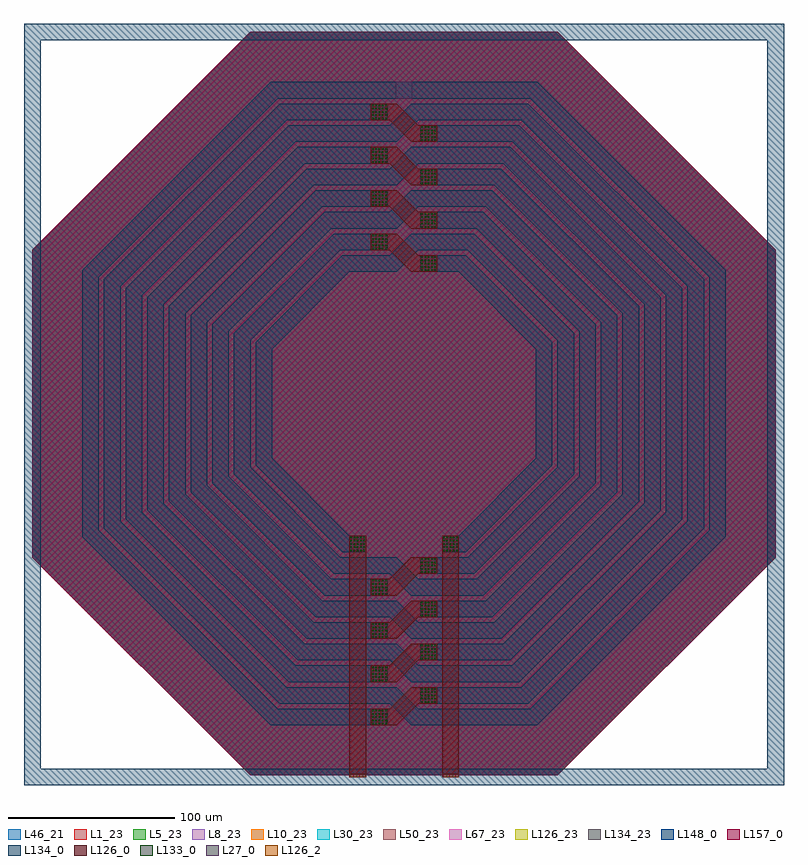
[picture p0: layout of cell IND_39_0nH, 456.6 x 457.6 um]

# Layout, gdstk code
import gdstk
lib = gdstk.Library(unit=1e-6, precision=1e-09)
def R(c, l, rs):  # rectangles x0, y0, x1, y1
    for r in rs: c.add(gdstk.rectangle(r[:2], r[2:], *l))
def A(c, l, x, y, w, h, nx, ny, dx, dy):  # array of equal rectangles
    R(c, l, [(x+i*dx, y+j*dy, x+i*dx+w, y+j*dy+h) for i in range(nx) for j in range(ny)])
def P(c, l, *ps):  # polygons
    for p in ps: c.add(gdstk.Polygon(p, *l))
L1_23 = (1, 23)
L5_23 = (5, 23)
L8_23 = (8, 23)
L10_23 = (10, 23)
L27_0 = (27, 0)
L30_23 = (30, 23)
L46_21 = (46, 21)
L50_23 = (50, 23)
L67_23 = (67, 23)
L126_0 = (126, 0)
L126_2 = (126, 2)
L126_23 = (126, 23)
L133_0 = (133, 0)
L134_0 = (134, 0)
L134_23 = (134, 23)
L148_0 = (148, 0)
L157_0 = (157, 0)

inductor2_1 = lib.new_cell('inductor2$1')
P(inductor2_1, L1_23, [(-92.49,0),(-223.3,130.81),(-223.3,315.79),(-92.49,446.6),(92.49,446.6),(223.3,315.79),(223.3,130.81),(92.49,0)])
P(inductor2_1, L5_23, [(-92.49,0),(-223.3,130.81),(-223.3,315.79),(-92.49,446.6),(92.49,446.6),(223.3,315.79),(223.3,130.81),(92.49,0)])
P(inductor2_1, L8_23, [(-92.49,0),(-223.3,130.81),(-223.3,315.79),(-92.49,446.6),(92.49,446.6),(223.3,315.79),(223.3,130.81),(92.49,0)])
P(inductor2_1, L10_23, [(-92.49,0),(-223.3,130.81),(-223.3,315.79),(-92.49,446.6),(92.49,446.6),(223.3,315.79),(223.3,130.81),(92.49,0)])
R(inductor2_1, L27_0, [(-5.01,406.57,5.01,416.59)])
P(inductor2_1, L30_23, [(-92.49,0),(-223.3,130.81),(-223.3,315.79),(-92.49,446.6),(92.49,446.6),(223.3,315.79),(223.3,130.81),(92.49,0)])
P(inductor2_1, L46_21, [(-92.49,0),(-223.3,130.81),(-223.3,315.79),(-92.49,446.6),(92.49,446.6),(223.3,315.79),(223.3,130.81),(92.49,0)])
P(inductor2_1, L50_23, [(-92.49,0),(-223.3,130.81),(-223.3,315.79),(-92.49,446.6),(92.49,446.6),(223.3,315.79),(223.3,130.81),(92.49,0)])
P(inductor2_1, L67_23, [(-92.49,0),(-223.3,130.81),(-223.3,315.79),(-92.49,446.6),(92.49,446.6),(223.3,315.79),(223.3,130.81),(92.49,0)])
P(inductor2_1, L126_0, [(4.45,302.42),(-8.57,315.44),(-19.83,315.44),(-19.83,325.44),(-4.45,325.44),(8.57,312.42),(19.83,312.42),(19.83,302.42)],
  [(4.45,328.46),(-8.57,341.48),(-19.83,341.48),(-19.83,351.48),(-4.45,351.48),(8.57,338.46),(19.83,338.46),(19.83,328.46)],
  [(-19.83,108),(-19.83,118),(-8.58,118),(4.42,131),(19.84,131),(19.84,121),(8.57,121),(-4.43,108)],
  [(4.45,354.5),(-8.57,367.52),(-19.83,367.52),(-19.83,377.52),(-4.45,377.52),(8.57,364.5),(19.83,364.5),(19.83,354.5)],
  [(-19.83,82),(-19.83,92),(-8.58,92),(4.42,105),(19.84,105),(19.84,95),(8.57,95),(-4.43,82)],
  [(4.45,380.54),(-8.57,393.56),(-19.83,393.56),(-19.83,403.56),(-4.45,403.56),(8.57,390.54),(19.83,390.54),(19.83,380.54)],
  [(-19.83,56),(-19.83,66),(-8.58,66),(4.42,79),(19.84,79),(19.84,69),(8.57,69),(-4.43,56)],
  [(-19.83,30),(-19.83,40),(-8.58,40),(4.42,53),(19.84,53),(19.84,43),(8.57,43),(-4.43,30)])
R(inductor2_1, L126_2, [(-32.83,-1,-22.83,1), (22.83,-1,32.83,1)])
P(inductor2_1, L126_23, [(-92.49,0),(-223.3,130.81),(-223.3,315.79),(-92.49,446.6),(92.49,446.6),(223.3,315.79),(223.3,130.81),(92.49,0)])
A(inductor2_1, L133_0, -19.2, 30.63, 0.9, 0.9, 5, 5, 1.96, 1.96)
A(inductor2_1, L133_0, 10.47, 43.63, 0.9, 0.9, 5, 5, 1.96, 1.96)
A(inductor2_1, L133_0, -19.2, 56.63, 0.9, 0.9, 5, 5, 1.96, 1.96)
A(inductor2_1, L133_0, 10.47, 69.63, 0.9, 0.9, 5, 5, 1.96, 1.96)
A(inductor2_1, L133_0, -19.2, 82.63, 0.9, 0.9, 5, 5, 1.96, 1.96)
A(inductor2_1, L133_0, 10.47, 95.63, 0.9, 0.9, 5, 5, 1.96, 1.96)
A(inductor2_1, L133_0, -19.2, 108.63, 0.9, 0.9, 5, 5, 1.96, 1.96)
A(inductor2_1, L133_0, 10.47, 121.63, 0.9, 0.9, 5, 5, 1.96, 1.96)
A(inductor2_1, L133_0, -32.2, 134.63, 0.9, 0.9, 5, 5, 1.96, 1.96)
A(inductor2_1, L133_0, 23.46, 134.63, 0.9, 0.9, 5, 5, 1.96, 1.96)
A(inductor2_1, L133_0, 10.46, 303.05, 0.9, 0.9, 5, 5, 1.96, 1.96)
A(inductor2_1, L133_0, -19.2, 316.05, 0.9, 0.9, 5, 5, 1.96, 1.96)
A(inductor2_1, L133_0, 10.46, 329.09, 0.9, 0.9, 5, 5, 1.96, 1.96)
A(inductor2_1, L133_0, -19.2, 342.09, 0.9, 0.9, 5, 5, 1.96, 1.96)
A(inductor2_1, L133_0, 10.46, 355.13, 0.9, 0.9, 5, 5, 1.96, 1.96)
A(inductor2_1, L133_0, -19.2, 368.13, 0.9, 0.9, 5, 5, 1.96, 1.96)
A(inductor2_1, L133_0, 10.46, 381.17, 0.9, 0.9, 5, 5, 1.96, 1.96)
A(inductor2_1, L133_0, -19.2, 394.17, 0.9, 0.9, 5, 5, 1.96, 1.96)
R(inductor2_1, L134_0, [(-9.83,406.58,9.83,416.58)])
P(inductor2_1, L134_0, [(22.83,134),(22.83,144),(32.805,144),(79.21,190.405),(79.21,256.015),(32.805,302.42),(9.83,302.42),(9.83,312.42),(36.955,312.42),(89.21,260.165),(89.21,186.255),(36.955,134)],
  [(-36.955,134),(-89.21,186.255),(-89.21,260.165),(-36.955,312.42),(-9.83,312.42),(-9.83,302.42),(-32.805,302.42),(-79.21,256.015),(-79.21,190.405),(-32.805,144),(-22.83,144),(-22.83,134)],
  [(-9.83,302.42),(-9.83,312.42),(-8.57,312.42),(4.45,325.44),(9.83,325.44),(9.83,315.44),(8.6,315.44),(-4.42,302.42)],
  [(9.83,121),(9.83,131),(38.195,131),(92.22,185.025),(92.22,261.415),(38.195,315.44),(9.83,315.44),(9.83,325.44),(42.345,325.44),(102.22,265.565),(102.22,180.875),(42.345,121)],
  [(-42.345,121),(-102.22,180.875),(-102.22,265.565),(-42.345,325.44),(-9.83,325.44),(-9.83,315.44),(-38.195,315.44),(-92.22,261.415),(-92.22,185.025),(-38.195,131),(-9.83,131),(-9.83,121)],
  [(9.83,108),(9.83,118),(43.585,118),(105.23,179.645),(105.23,266.815),(43.585,328.46),(9.83,328.46),(9.83,338.46),(47.735,338.46),(115.23,270.965),(115.23,175.495),(47.735,108)],
  [(-47.735,108),(-115.23,175.495),(-115.23,270.965),(-47.735,338.46),(-9.83,338.46),(-9.83,328.46),(-43.585,328.46),(-105.23,266.815),(-105.23,179.645),(-43.585,118),(-9.83,118),(-9.83,108)],
  [(-9.83,328.46),(-9.83,338.46),(-8.57,338.46),(4.45,351.48),(9.83,351.48),(9.83,341.48),(8.6,341.48),(-4.42,328.46)],
  [(4.43,108),(-8.57,121),(-9.83,121),(-9.83,131),(-4.42,131),(8.58,118),(9.83,118),(9.83,108)],
  [(9.83,95),(9.83,105),(48.975,105),(118.24,174.265),(118.24,272.215),(48.975,341.48),(9.83,341.48),(9.83,351.48),(53.125,351.48),(128.24,276.365),(128.24,170.115),(53.125,95)],
  [(-53.125,95),(-128.24,170.115),(-128.24,276.365),(-53.125,351.48),(-9.83,351.48),(-9.83,341.48),(-48.975,341.48),(-118.24,272.215),(-118.24,174.265),(-48.975,105),(-9.83,105),(-9.83,95)],
  [(9.83,82),(9.83,92),(54.365,92),(131.25,168.885),(131.25,277.615),(54.365,354.5),(9.83,354.5),(9.83,364.5),(58.515,364.5),(141.25,281.765),(141.25,164.735),(58.515,82)],
  [(-58.515,82),(-141.25,164.735),(-141.25,281.765),(-58.515,364.5),(-9.83,364.5),(-9.83,354.5),(-54.365,354.5),(-131.25,277.615),(-131.25,168.885),(-54.365,92),(-9.83,92),(-9.83,82)],
  [(-9.83,354.5),(-9.83,364.5),(-8.57,364.5),(4.45,377.52),(9.83,377.52),(9.83,367.52),(8.6,367.52),(-4.42,354.5)],
  [(4.43,82),(-8.57,95),(-9.83,95),(-9.83,105),(-4.42,105),(8.58,92),(9.83,92),(9.83,82)],
  [(9.83,69),(9.83,79),(59.75,79),(144.26,163.51),(144.26,283.01),(59.75,367.52),(9.83,367.52),(9.83,377.52),(63.9,377.52),(154.26,287.16),(154.26,159.36),(63.9,69)],
  [(-63.9,69),(-154.26,159.36),(-154.26,287.16),(-63.9,377.52),(-9.83,377.52),(-9.83,367.52),(-59.75,367.52),(-144.26,283.01),(-144.26,163.51),(-59.75,79),(-9.83,79),(-9.83,69)],
  [(9.83,56),(9.83,66),(65.14,66),(157.27,158.13),(157.27,288.41),(65.14,380.54),(9.83,380.54),(9.83,390.54),(69.29,390.54),(167.27,292.56),(167.27,153.98),(69.29,56)],
  [(-69.29,56),(-167.27,153.98),(-167.27,292.56),(-69.29,390.54),(-9.83,390.54),(-9.83,380.54),(-65.14,380.54),(-157.27,288.41),(-157.27,158.13),(-65.14,66),(-9.83,66),(-9.83,56)],
  [(-9.83,380.54),(-9.83,390.54),(-8.57,390.54),(4.45,403.56),(9.83,403.56),(9.83,393.56),(8.6,393.56),(-4.42,380.54)],
  [(4.43,56),(-8.57,69),(-9.83,69),(-9.83,79),(-4.42,79),(8.58,66),(9.83,66),(9.83,56)],
  [(9.83,43),(9.83,53),(70.53,53),(170.28,152.75),(170.28,293.81),(70.53,393.56),(9.83,393.56),(9.83,403.56),(74.68,403.56),(180.28,297.96),(180.28,148.6),(74.68,43)],
  [(-74.68,43),(-180.28,148.6),(-180.28,297.96),(-74.68,403.56),(-9.83,403.56),(-9.83,393.56),(-70.53,393.56),(-170.28,293.81),(-170.28,152.75),(-70.53,53),(-9.83,53),(-9.83,43)],
  [(9.83,30),(9.83,40),(75.92,40),(183.29,147.37),(183.29,299.21),(75.92,406.58),(9.83,406.58),(9.83,416.58),(80.07,416.58),(193.29,303.36),(193.29,143.22),(80.07,30)],
  [(-80.07,30),(-193.29,143.22),(-193.29,303.36),(-80.07,416.58),(-9.83,416.58),(-9.83,406.58),(-75.92,406.58),(-183.29,299.21),(-183.29,147.37),(-75.92,40),(-9.83,40),(-9.83,30)],
  [(4.43,30),(-8.57,43),(-9.83,43),(-9.83,53),(-4.42,53),(8.58,40),(9.83,40),(9.83,30)])
P(inductor2_1, L134_23, [(-92.49,0),(-223.3,130.81),(-223.3,315.79),(-92.49,446.6),(92.49,446.6),(223.3,315.79),(223.3,130.81),(92.49,0)])
P(inductor2_1, L148_0, [(-92.49,0),(-223.3,130.81),(-223.3,315.79),(-92.49,446.6),(92.49,446.6),(223.3,315.79),(223.3,130.81),(92.49,0)])
P(inductor2_1, L157_0, [(-92.49,0),(-223.3,130.81),(-223.3,315.79),(-92.49,446.6),(92.49,446.6),(223.3,315.79),(223.3,130.81),(92.49,0)])
inductor2_1.add(gdstk.FlexPath([(27.83,-1),(27.83,144)], 10, ends="flush", simple_path=True, layer=126, datatype=0))  # L126_0
inductor2_1.add(gdstk.FlexPath([(-27.83,-1),(-27.83,144)], 10, ends="flush", simple_path=True, layer=126, datatype=0))  # L126_0
inductor2_1.add(gdstk.Label('L2_TM2', (0,411.58), layer=63, texttype=0))
inductor2_1.add(gdstk.Label('l=1p', (0,414.913), layer=63, texttype=0))
inductor2_1.add(gdstk.Label('r=1m', (0,408.247), layer=63, texttype=0))
inductor2_1.add(gdstk.Label('LB', (27.83,0), layer=63, texttype=0))
inductor2_1.add(gdstk.Label('LA', (-27.83,0), layer=63, texttype=0))
inductor2_1.add(gdstk.Label('inductor2', (0,237.115), layer=63, texttype=0))

ind_39_0nh = lib.new_cell('IND_39_0nH')
ind_39_0nh.add(gdstk.FlexPath([(223.3,-1),(-223.3,-1),(-223.3,446.6),(223.3,446.6),(223.3,-6)], 10, ends="flush", simple_path=True, layer=134, datatype=0))  # L134_0
ind_39_0nh.add(gdstk.Reference(inductor2_1, (0,0)))

lib.write_gds('IND_39_0nH.gds')
